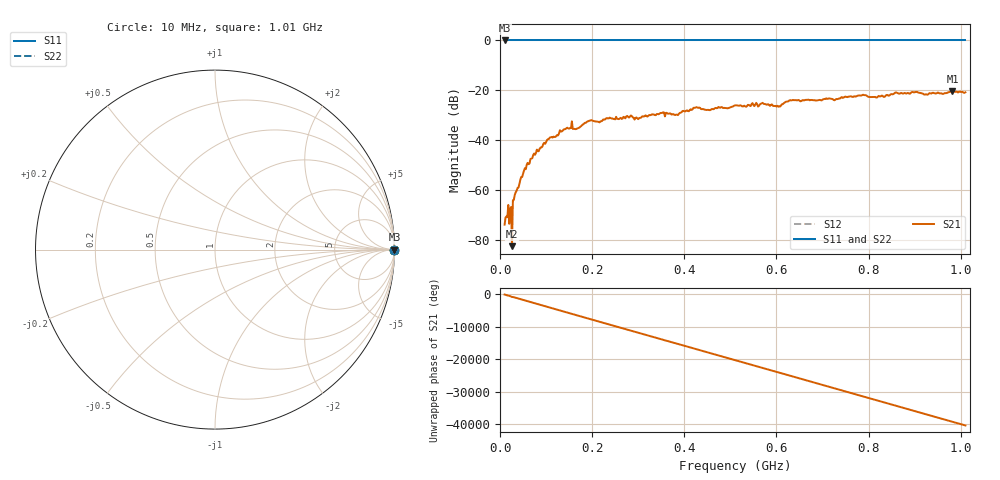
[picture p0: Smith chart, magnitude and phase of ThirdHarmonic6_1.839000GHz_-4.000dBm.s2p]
! 8/16/2025 10:15:42 PM
! C:\ANRITSUVNA\TEMP\TEMP.S2P
! CHANNEL.1
! TR.MEASUREMENT
! RAW.DATA
! RF.CORRECTION.OFF
! AVERAGING.OFF
! IF.BANDWIDTH: 5KHZ
! SWEEPTYPE:  FREQ.SWEEP(Linear)
! Reference Plane Port Info
! PORT:  PORT1  PORT2
! DISTANCE:  0  m  0  m
! TIME:  0  s  0  s
! PHASE.OFFSET:  0  deg.  0  deg.
! LOSS:  0  dB  0  dB
! REF.LOSS:  0  dB  0  dB
! REF.FREQ:  0  Hz  0  Hz
! Power Info
! POWER:  -20  dBm  -20  dBm
! EFF.POWER:  -20  dBm  -20  dBm
! SOURCE.ATTEN:  0  dB  0  dB
! TEST.ATTEN:  0  dB  0  dB
# GHZ S RI R 50.0
! FREQ.GHZ  S11RE  S11IM  S21RE  S21IM  S12RE  S12IM  S22RE  S22IM
!; PortSelection: Port_12
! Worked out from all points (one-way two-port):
!   501 points, 10 MHz to 1.01 GHz, reference 50 ohm
!   highest |S21| = -20.33 dB at 982 MHz (marker M1); lowest = -82.5 dB at 26 MHz (marker M2)
!   lowest |S11| = 0.0 dB at 10 MHz (marker M3)
!   |S11| at or under -10 dB: nowhere
!   |S22| runs from 0.0 to 0.0 dB; largest |S21 - S12| = 1.1
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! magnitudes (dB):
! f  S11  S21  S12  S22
! 10 MHz  0.0  -73.9  0.0  0.0
! 20 MHz  0.0  -73.5  0.0  0.0
! 24 MHz  0.0  -66.8  0.0  0.0
! 26 MHz  0.0  -82.5  0.0  0.0
! 30 MHz  0.0  -63.9  0.0  0.0
! 32 MHz  0.0  -62.0  0.0  0.0
! 50 MHz  0.0  -53.5  0.0  0.0
! 76 MHz  0.0  -45.8  0.0  0.0
! 106 MHz  0.0  -39.5  0.0  0.0
! 134 MHz  0.0  -36.5  0.0  0.0
! 178 MHz  0.0  -34.0  0.0  0.0
! 196 MHz  0.0  -32.1  0.0  0.0
! 344 MHz  0.0  -29.6  0.0  0.0
! 382 MHz  0.0  -29.8  0.0  0.0
! 424 MHz  0.0  -27.0  0.0  0.0
! 510 MHz  0.0  -26.0  0.0  0.0
! 604 MHz  0.0  -26.6  0.0  0.0
! 632 MHz  0.0  -24.1  0.0  0.0
! 678 MHz  0.0  -23.9  0.0  0.0
! 844 MHz  0.0  -22.2  0.0  0.0
! 982 MHz  0.0  -20.3  0.0  0.0
! 1.01 GHz  0.0  -20.8  0.0  0.0
